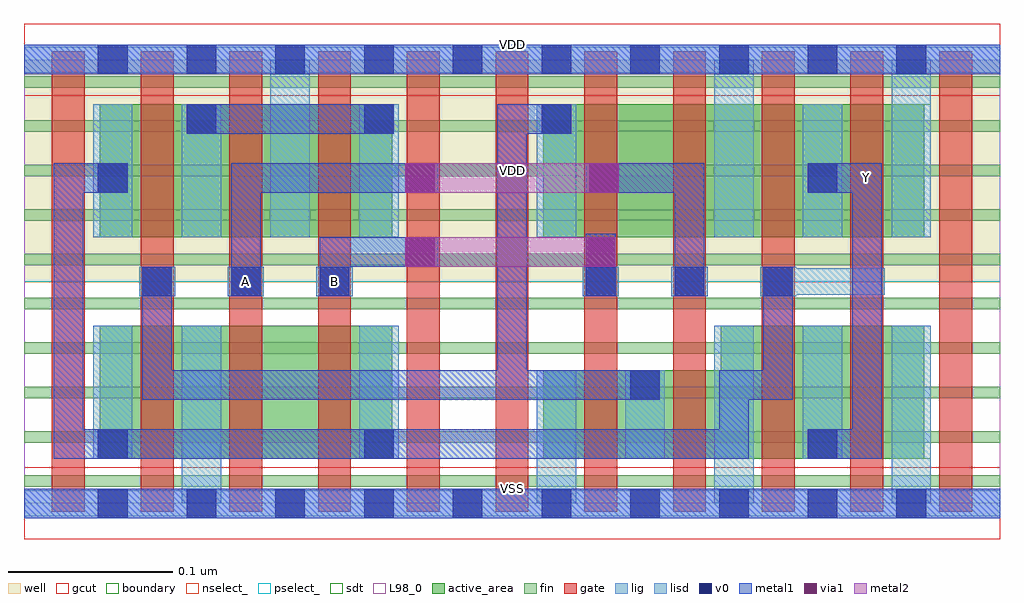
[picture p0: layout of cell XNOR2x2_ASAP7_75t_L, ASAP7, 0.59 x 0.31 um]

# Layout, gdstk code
import gdstk
lib = gdstk.Library(unit=1e-6, precision=2.5e-10)
def R(c, l, rs):  # rectangles x0, y0, x1, y1
    for r in rs: c.add(gdstk.rectangle(r[:2], r[2:], *l))
def A(c, l, x, y, w, h, nx, ny, dx, dy):  # array of equal rectangles
    R(c, l, [(x+i*dx, y+j*dy, x+i*dx+w, y+j*dy+h) for i in range(nx) for j in range(ny)])
def P(c, l, *ps):  # polygons
    for p in ps: c.add(gdstk.Polygon(p, *l))
well = (1, 0)
fin = (2, 0)
gate = (7, 0)
gcut = (10, 0)
active_area = (11, 0)
nselect_ = (12, 0)
pselect_ = (13, 0)
lig = (16, 0)
lisd = (17, 0)
v0 = (18, 0)
metal1 = (19, 0)
metal2 = (20, 0)
via1 = (21, 0)
sdt = (88, 0)
L98_0 = (98, 0)
boundary = (100, 0)

xnor2x2_asap7_75t_l = lib.new_cell('XNOR2x2_ASAP7_75t_L')
R(xnor2x2_asap7_75t_l, well, [(0,0.135,0.594,0.27)])
A(xnor2x2_asap7_75t_l, fin, 0, 0.01, 0.594, 0.007, 1, 10, 0, 0.027)
A(xnor2x2_asap7_75t_l, gate, 0.017, -0.005, 0.02, 0.28, 11, 1, 0.054, 0)
R(xnor2x2_asap7_75t_l, gcut, [(0,-0.022,0.594,0.022), (0,0.248,0.594,0.292)])
R(xnor2x2_asap7_75t_l, active_area, [(0.046,0.027,0.224,0.108), (0.046,0.162,0.224,0.243), (0.316,0.162,0.548,0.243)])
P(xnor2x2_asap7_75t_l, active_area, [(0.316,0.027),(0.316,0.081),(0.424,0.081),(0.424,0.108),(0.548,0.108),(0.548,0.027)])
R(xnor2x2_asap7_75t_l, nselect_, [(0,0,0.594,0.135)])
R(xnor2x2_asap7_75t_l, pselect_, [(0,0.135,0.594,0.27)])
A(xnor2x2_asap7_75t_l, lig, 0.07, 0.126, 0.022, 0.018, 3, 1, 0.054, 0)
A(xnor2x2_asap7_75t_l, lig, 0.34, 0.126, 0.022, 0.018, 3, 1, 0.054, 0)
R(xnor2x2_asap7_75t_l, lig, [(0,-0.008,0.594,0.008), (0.448,0.127,0.524,0.143), (0,0.262,0.594,0.278)])
A(xnor2x2_asap7_75t_l, lisd, 0.096, 0.162, 0.024, 0.081, 3, 1, 0.108, 0)
R(xnor2x2_asap7_75t_l, lisd, [(0.096,0,0.12,0.108), (0.096,0,0.12,0.108), (0.312,0,0.336,0.081), (0.312,0,0.336,0.081), (0.42,0,0.444,0.108), (0.42,0,0.444,0.108), (0.528,0,0.552,0.108), (0.528,0,0.552,0.108), (0.042,0.027,0.066,0.108), (0.204,0.027,0.228,0.108), (0.366,0.027,0.39,0.081), (0.474,0.027,0.498,0.108), (0.042,0.162,0.066,0.243), (0.15,0.162,0.174,0.27), (0.15,0.162,0.174,0.27), (0.42,0.162,0.444,0.27), (0.42,0.162,0.444,0.27), (0.474,0.162,0.498,0.243), (0.528,0.162,0.552,0.27), (0.528,0.162,0.552,0.27)])
A(xnor2x2_asap7_75t_l, v0, 0.045, -0.009, 0.018, 0.018, 10, 2, 0.054, 0.27)
A(xnor2x2_asap7_75t_l, v0, 0.072, 0.126, 0.018, 0.018, 3, 1, 0.054, 0)
A(xnor2x2_asap7_75t_l, v0, 0.342, 0.126, 0.018, 0.018, 3, 1, 0.054, 0)
A(xnor2x2_asap7_75t_l, v0, 0.099, 0.225, 0.018, 0.018, 3, 1, 0.108, 0)
R(xnor2x2_asap7_75t_l, v0, [(0.045,0.027,0.063,0.045), (0.207,0.027,0.225,0.045), (0.477,0.027,0.495,0.045), (0.369,0.063,0.387,0.081), (0.045,0.189,0.063,0.207), (0.477,0.189,0.495,0.207)])
A(xnor2x2_asap7_75t_l, metal1, 0.072, 0.126, 0.018, 0.018, 3, 1, 0.054, 0)
A(xnor2x2_asap7_75t_l, metal1, 0.342, 0.126, 0.018, 0.018, 3, 1, 0.054, 0)
A(xnor2x2_asap7_75t_l, metal1, 0.099, 0.225, 0.018, 0.018, 3, 1, 0.108, 0)
R(xnor2x2_asap7_75t_l, metal1, [(0,-0.009,0.594,0.009), (0.045,0.027,0.063,0.045), (0.207,0.027,0.225,0.045), (0.477,0.027,0.495,0.045), (0.369,0.063,0.387,0.081), (0.342,0.126,0.36,0.163), (0.234,0.144,0.252,0.162), (0.342,0.144,0.36,0.164), (0.045,0.189,0.063,0.207), (0.234,0.189,0.252,0.207), (0.477,0.189,0.495,0.207), (0.099,0.225,0.225,0.243), (0,0.261,0.594,0.279)])
P(xnor2x2_asap7_75t_l, metal1, [(0.18,0.126),(0.18,0.162),(0.252,0.162),(0.252,0.144),(0.198,0.144),(0.198,0.126)],
  [(0.018,0.027),(0.018,0.207),(0.063,0.207),(0.063,0.189),(0.036,0.189),(0.036,0.045),(0.423,0.045),(0.423,0.081),(0.45,0.081),(0.45,0.144),(0.468,0.144),(0.468,0.063),(0.441,0.063),(0.441,0.027)],
  [(0.072,0.063),(0.072,0.144),(0.09,0.144),(0.09,0.081),(0.288,0.081),(0.288,0.243),(0.333,0.243),(0.333,0.225),(0.306,0.225),(0.306,0.081),(0.387,0.081),(0.387,0.063)],
  [(0.126,0.126),(0.126,0.207),(0.252,0.207),(0.252,0.189),(0.144,0.189),(0.144,0.126)],
  [(0.396,0.126),(0.396,0.189),(0.342,0.189),(0.342,0.207),(0.414,0.207),(0.414,0.126)],
  [(0.477,0.027),(0.477,0.045),(0.504,0.045),(0.504,0.189),(0.477,0.189),(0.477,0.207),(0.522,0.207),(0.522,0.027)])
R(xnor2x2_asap7_75t_l, metal2, [(0.232,0.144,0.36,0.162), (0.232,0.189,0.362,0.207)])
R(xnor2x2_asap7_75t_l, via1, [(0.232,0.144,0.25,0.162), (0.342,0.144,0.36,0.162), (0.232,0.189,0.25,0.207), (0.344,0.189,0.362,0.207)])
A(xnor2x2_asap7_75t_l, sdt, 0.42, 0.027, 0.024, 0.081, 3, 2, 0.054, 0.135)
A(xnor2x2_asap7_75t_l, sdt, 0.042, 0.162, 0.024, 0.081, 3, 1, 0.054, 0)
A(xnor2x2_asap7_75t_l, sdt, 0.204, 0.162, 0.024, 0.081, 3, 1, 0.108, 0)
R(xnor2x2_asap7_75t_l, sdt, [(0.042,0.027,0.066,0.108), (0.096,0.027,0.12,0.108), (0.096,0.027,0.12,0.108), (0.204,0.027,0.228,0.108), (0.312,0.027,0.336,0.081), (0.312,0.027,0.336,0.081), (0.366,0.027,0.39,0.081), (0.42,0.027,0.444,0.108), (0.528,0.027,0.552,0.108), (0.15,0.162,0.174,0.243), (0.528,0.162,0.552,0.243)])
R(xnor2x2_asap7_75t_l, L98_0, [(0,0,0.594,0.27)])
R(xnor2x2_asap7_75t_l, boundary, [(0,0,0.594,0.27)])
xnor2x2_asap7_75t_l.add(gdstk.Label('VDD', (0.297,0.2025), layer=1, texttype=251))
xnor2x2_asap7_75t_l.add(gdstk.Label('VSS', (0.297,-0.0675), layer=3, texttype=251))
xnor2x2_asap7_75t_l.add(gdstk.Label('VSS', (0.297,0.009), layer=19, texttype=251))
xnor2x2_asap7_75t_l.add(gdstk.Label('VDD', (0.297,0.279), layer=19, texttype=251))
xnor2x2_asap7_75t_l.add(gdstk.Label('A', (0.135,0.135), layer=19, texttype=251))
xnor2x2_asap7_75t_l.add(gdstk.Label('B', (0.189,0.135), layer=19, texttype=251))
xnor2x2_asap7_75t_l.add(gdstk.Label('Y', (0.513,0.198), layer=19, texttype=251))

lib.write_gds('XNOR2x2_ASAP7_75t_L.gds')
